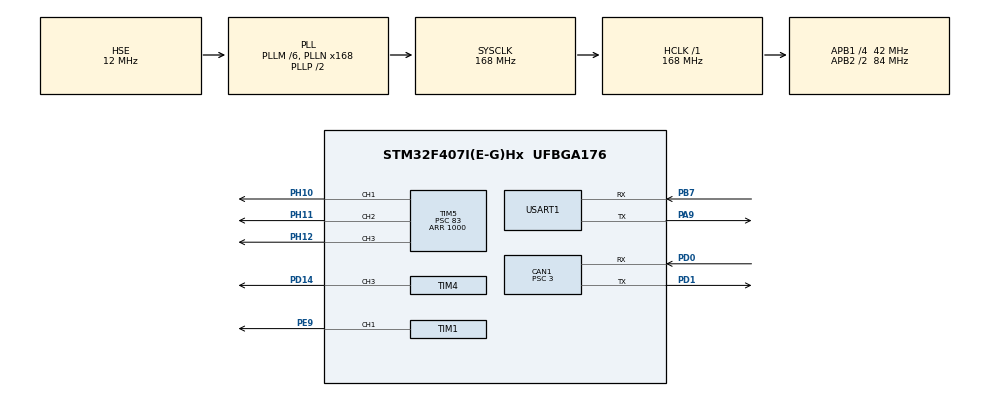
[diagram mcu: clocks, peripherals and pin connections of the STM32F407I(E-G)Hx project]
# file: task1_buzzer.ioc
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CAN1.BS1=CAN_BS1_9TQ
CAN1.BS2=CAN_BS2_4TQ
CAN1.CalculateBaudRate=1000000
CAN1.CalculateTimeBit=1000
CAN1.CalculateTimeQuantum=71.42857142857143
CAN1.Prescaler=3
FREERTOS.Tasks01=ledTask,24,128,StartLedTask,Default,NULL,Dynamic,NULL,NULL;servoTask,8,128,StartServoTask,Default,NULL,Dynamic,NULL,NULL;MotorTask,24,256,StartMotorTask,Default,NULL,Dynamic,NULL,NULL
Mcu.Family=STM32F4
Mcu.Name=STM32F407I(E-G)Hx
Mcu.Package=UFBGA176
NVIC.CAN1_RX0_IRQn=true\:5\:0\:false\:false\:true\:true\:true\:true\:true
NVIC.PriorityGroup=NVIC_PRIORITYGROUP_4
NVIC.TIM8_TRG_COM_TIM14_IRQn=true\:15\:0\:false\:false\:true\:false\:false\:true\:true
NVIC.TimeBase=TIM8_TRG_COM_TIM14_IRQn
NVIC.TimeBaseIP=TIM14
NVIC.USART1_IRQn=true\:5\:0\:false\:false\:true\:true\:true\:true\:true
PA13.Mode=Serial_Wire
PA13.Signal=SYS_JTMS-SWDIO
PA14.Mode=Serial_Wire
PA14.Signal=SYS_JTCK-SWCLK
PA9.Mode=Asynchronous
PA9.Signal=USART1_TX
PB7.Mode=Asynchronous
PB7.Signal=USART1_RX
PD0.Mode=CAN_Activate
PD0.Signal=CAN1_RX
PD1.Mode=CAN_Activate
PD1.Signal=CAN1_TX
PD14.Signal=S_TIM4_CH3
PE9.Signal=S_TIM1_CH1
PH0-OSC_IN.Mode=HSE-External-Oscillator
PH0-OSC_IN.Signal=RCC_OSC_IN
PH1-OSC_OUT.Mode=HSE-External-Oscillator
PH1-OSC_OUT.Signal=RCC_OSC_OUT
PH10.Signal=S_TIM5_CH1
PH11.Signal=S_TIM5_CH2
PH12.Signal=S_TIM5_CH3
ProjectManager.HeapSize=0x200
ProjectManager.StackSize=0x400
ProjectManager.TargetToolchain=CMake
RCC.48MHZClocksFreq_Value=84000000
RCC.AHBFreq_Value=168000000
RCC.APB1CLKDivider=RCC_HCLK_DIV4
RCC.APB1Freq_Value=42000000
RCC.APB1TimFreq_Value=84000000
RCC.APB2CLKDivider=RCC_HCLK_DIV2
RCC.APB2Freq_Value=84000000
RCC.APB2TimFreq_Value=168000000
RCC.CortexFreq_Value=168000000
RCC.HCLKFreq_Value=168000000
RCC.HSE_VALUE=12000000
RCC.HSI_VALUE=16000000
RCC.LSE_VALUE=32768
RCC.PLLM=6
RCC.PLLN=168
RCC.PLLSourceVirtual=RCC_PLLSOURCE_HSE
RCC.SYSCLKFreq_VALUE=168000000
RCC.SYSCLKSource=RCC_SYSCLKSOURCE_PLLCLK
RCC.VCOOutputFreq_Value=336000000
SH.S_TIM1_CH1.0=TIM1_CH1,PWM Generation1 CH1
SH.S_TIM4_CH3.0=TIM4_CH3,PWM Generation3 CH3
SH.S_TIM5_CH1.0=TIM5_CH1,PWM Generation1 CH1
SH.S_TIM5_CH2.0=TIM5_CH2,PWM Generation2 CH2
SH.S_TIM5_CH3.0=TIM5_CH3,PWM Generation3 CH3
TIM1.Channel-PWM\ Generation1\ CH1=TIM_CHANNEL_1
TIM1.Period=19999
TIM1.Prescaler=167
TIM4.Channel-PWM\ Generation3\ CH3=TIM_CHANNEL_3
TIM4.Period=249
TIM4.Prescaler=84-1
TIM4.Pulse-PWM\ Generation3\ CH3=125
TIM5.Channel-PWM\ Generation1\ CH1=TIM_CHANNEL_1
TIM5.Channel-PWM\ Generation2\ CH2=TIM_CHANNEL_2
TIM5.Channel-PWM\ Generation3\ CH3=TIM_CHANNEL_3
TIM5.Period=1000
TIM5.Prescaler=83
USART1.VirtualMode=VM_ASYNC
VP_FREERTOS_VS_CMSIS_V2.Mode=CMSIS_V2
VP_SYS_VS_tim14.Mode=TIM14
board=custom

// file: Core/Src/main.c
/* USER CODE BEGIN Header */
/**
 ******************************************************************************
 * @file           : main.c
 * @brief          : Main program body
 ******************************************************************************
 * @attention
 *
 * Copyright (c) 2026 STMicroelectronics.
 * All rights reserved.
 *
 * This software is licensed under terms that can be found in the LICENSE file
 * in the root directory of this software component.
 * If no LICENSE file comes with this software, it is provided AS-IS.
 *
 ******************************************************************************
 */
/* USER CODE END Header */
#include "main.h"
#include "can.h"
#include "cmsis_os.h"
#include "gpio.h"
#include "tim.h"
#include "usart.h"

/* USER CODE BEGIN Includes */

// C++混合编译保护罩，防止链接器找不到C函数
#ifdef __cplusplus
extern "C"
{
#endif

#include "bsp_led.h"
#include "bsp_servo.h"
#include "justfloat.h"
#include <stdio.h>
  void MX_FREERTOS_Init(void);

#ifdef __cplusplus
}
#endif

/* USER CODE END Includes */

/* USER CODE BEGIN PV */
uint8_t rx_byte;
uint8_t rx_buf[20];
uint8_t rx_cnt = 0;
float kp_val = 50.0f;    // 默认给 50 的起步经验值，防止上电电机毫无反应
Motor_Data_t motor_data; // 电机数据结构体实例，全局变量
float Ki = 0.0f;
float Kd = 0.0f;
/* USER CODE END PV */

void SystemClock_Config(void);
void MX_FREERTOS_Init(void);

/* USER CODE BEGIN 0 */
/*********************************************************
 * [自定义驱动与中断回调区]
 * 用途：存放写的底层外设控制函数和各个通信中断的处理逻辑（回调函数，任务四和任务五）
 *********************************************************/
// 任务一：蜂鸣器音调设置函数
void Buzzer_Set_Tone(uint16_t freq)
{
  if (freq == 0)
  {
    __HAL_TIM_SET_COMPARE(&htim4, TIM_CHANNEL_3, 0); // 占空比设为0，静音
    return;
  }
  uint32_t reload = 1000000 / freq; // 1MHz 时钟下的重装载值计算
  __HAL_TIM_SET_AUTORELOAD(&htim4, reload - 1);
  __HAL_TIM_SET_COMPARE(&htim4, TIM_CHANNEL_3, reload / 2); // 始终保持50%占空比
}

// 任务四回调函数
void HAL_UART_RxCpltCallback(UART_HandleTypeDef *huart)
{

  if (huart->Instance == USART1)
  {

    if (rx_byte == '\r')
    {
      rx_buf[rx_cnt] = '\0';

      if (sscanf((char *)rx_buf, "kp=%f", &kp_val) == 1)
      {
        justfloat_send_single(kp_val);
      }
      else if (sscanf((char *)rx_buf, "ki=%f", &Ki) == 1)
      {
        justfloat_send_single(Ki);
      }
      else if (sscanf((char *)rx_buf, "kd=%f", &Kd) == 1)
      {
        justfloat_send_single(Kd);
      }

      rx_cnt = 0;
    }
    else
    {

      rx_buf[rx_cnt++] = rx_byte;
      if (rx_cnt >= 20)
        rx_cnt = 0;
    }

    HAL_UART_Receive_IT(&huart1, &rx_byte, 1);
  }
}
// 任务五回调函数
void HAL_CAN_RxFifo0MsgPendingCallback(CAN_HandleTypeDef *hcan)
{
  CAN_RxHeaderTypeDef rx_header;
  uint8_t rx_data[8];

  if (hcan->Instance == CAN1)
  {
    // 读取接收到的 CAN 数据
    HAL_CAN_GetRxMessage(hcan, CAN_RX_FIFO0, &rx_header, rx_data);

    // 电机 ID 是 1，由C620 说明书得到其反馈标识符为 0x200 + 1 = 0x201
    if (rx_header.StdId == 0x201)
    {
      // 将 8 个字节的数据拼接还原成真实数值
      motor_data.angle = (rx_data[0] << 8) | rx_data[1];
      motor_data.speed_rpm = (rx_data[2] << 8) | rx_data[3];
      motor_data.current = (rx_data[4] << 8) | rx_data[5];
      motor_data.temp = rx_data[6];
    }
  }
}
/* USER CODE END 0 */

int main(void)
{

  /* MCU Configuration--------------------------------------------------------*/

  /* Reset of all peripherals, Initializes the Flash interface and the Systick. */
  HAL_Init();

  /* Configure the system clock */
  SystemClock_Config();

  /* Initialize all configured peripherals */
  MX_GPIO_Init();
  MX_TIM4_Init();
  MX_USART1_UART_Init();
  MX_TIM5_Init();
  MX_TIM1_Init();
  MX_CAN1_Init();
  /* USER CODE BEGIN 2 */
  /*********************************************************
   * [系统初始化与外设启动区]
   * 外设启动(Start)、开启中断(IT)、开机自检。在 FreeRTOS 接管前执行。
   *********************************************************/
  // 局部变量的定义
  CAN_FilterTypeDef can_filter_st;
  // 初始化都写到这里
  BSP_LED_Init();                            // 启动 TIM5 的 PWM 硬件通道
  BSP_LED_SetColor(1000, 0, 0);              // 占空比 1000，这个是测试代码，之前任务二小灯不亮
  Servo_Init();                              // 启动 TIM1 的 PWM 硬件通道
  HAL_UART_Receive_IT(&huart1, &rx_byte, 1); // 开启UART1接收中断

  // 任务一
  // 上电复位后蜂鸣器响一次
  HAL_TIM_PWM_Start(&htim4, TIM_CHANNEL_3);
  Buzzer_Set_Tone(4000); // 默认 4000Hz 音调
  HAL_Delay(500);        // 鸣响 500ms
  Buzzer_Set_Tone(0);    // 静音
  HAL_Delay(1000);

  // 设计两种不同的报错音调
  // 报错音调 1：“滴-滴-滴”
  for (int i = 0; i < 3; i++)
  {
    Buzzer_Set_Tone(5000);
    HAL_Delay(150);
    Buzzer_Set_Tone(0);
    HAL_Delay(100);
  }
  HAL_Delay(800);

  // 报错音调 2：“嘟——嘟——”
  for (int i = 0; i < 2; i++)
  {
    Buzzer_Set_Tone(1500);
    HAL_Delay(400);
    Buzzer_Set_Tone(0);
    HAL_Delay(200);
  }
  HAL_TIM_PWM_Stop(&htim4, TIM_CHANNEL_3); // 彻底关闭该通道PWM

  // 任务五
  //  1.配置CAN1的过滤器，允许接收所有ID的报文

  can_filter_st.FilterActivation = CAN_FILTER_ENABLE;
  can_filter_st.FilterMode = CAN_FILTERMODE_IDMASK;
  can_filter_st.FilterScale = CAN_FILTERSCALE_32BIT;
  can_filter_st.FilterIdHigh = 0x0000;
  can_filter_st.FilterIdLow = 0x0000;
  can_filter_st.FilterMaskIdHigh = 0x0000;
  can_filter_st.FilterMaskIdLow = 0x0000;
  can_filter_st.FilterBank = 0;

  can_filter_st.FilterFIFOAssignment = CAN_FILTER_FIFO0;
  can_filter_st.SlaveStartFilterBank = 14; //

  HAL_CAN_ConfigFilter(&hcan1, &can_filter_st);

  // 2. 启动 CAN1 硬件模块
  HAL_CAN_Start(&hcan1);

  // 3. 开启 CAN1 的接收中断 (当收到数据时会触发回调函数)
  HAL_CAN_ActivateNotification(&hcan1, CAN_IT_RX_FIFO0_MSG_PENDING);

  /* USER CODE END 2 */

  /* Init scheduler */
  osKernelInitialize(); /* Call init function for freertos objects (in cmsis_os2.c) */
  MX_FREERTOS_Init();

  /* Start scheduler */
  osKernelStart();

  /* We should never get here as control is now taken by the scheduler */

  /* Infinite loop */
  while (1)
  {

  }
}

void SystemClock_Config(void)
{
  RCC_OscInitTypeDef RCC_OscInitStruct = {0};
  RCC_ClkInitTypeDef RCC_ClkInitStruct = {0};

  /** Configure the main internal regulator output voltage
   */
  __HAL_RCC_PWR_CLK_ENABLE();
  __HAL_PWR_VOLTAGESCALING_CONFIG(PWR_REGULATOR_VOLTAGE_SCALE1);

  /** Initializes the RCC Oscillators according to the specified parameters
   * in the RCC_OscInitTypeDef structure.
   */
  RCC_OscInitStruct.OscillatorType = RCC_OSCILLATORTYPE_HSE;
  RCC_OscInitStruct.HSEState = RCC_HSE_ON;
  RCC_OscInitStruct.PLL.PLLState = RCC_PLL_ON;
  RCC_OscInitStruct.PLL.PLLSource = RCC_PLLSOURCE_HSE;
  RCC_OscInitStruct.PLL.PLLM = 6;
  RCC_OscInitStruct.PLL.PLLN = 168;
  RCC_OscInitStruct.PLL.PLLP = RCC_PLLP_DIV2;
  RCC_OscInitStruct.PLL.PLLQ = 4;
  if (HAL_RCC_OscConfig(&RCC_OscInitStruct) != HAL_OK)
  {
    Error_Handler();
  }

  /** Initializes the CPU, AHB and APB buses clocks
   */
  RCC_ClkInitStruct.ClockType = RCC_CLOCKTYPE_HCLK | RCC_CLOCKTYPE_SYSCLK | RCC_CLOCKTYPE_PCLK1 | RCC_CLOCKTYPE_PCLK2;
  RCC_ClkInitStruct.SYSCLKSource = RCC_SYSCLKSOURCE_PLLCLK;
  RCC_ClkInitStruct.AHBCLKDivider = RCC_SYSCLK_DIV1;
  RCC_ClkInitStruct.APB1CLKDivider = RCC_HCLK_DIV4;
  RCC_ClkInitStruct.APB2CLKDivider = RCC_HCLK_DIV2;

  if (HAL_RCC_ClockConfig(&RCC_ClkInitStruct, FLASH_LATENCY_5) != HAL_OK)
  {
    Error_Handler();
  }
}

void HAL_TIM_PeriodElapsedCallback(TIM_HandleTypeDef *htim)
{
  if (htim->Instance == TIM14)
  {
    HAL_IncTick();
  }
}

void Error_Handler(void)
{
  __disable_irq();
  while (1)
  {
  }
}
#ifdef USE_FULL_ASSERT
/**
 * @brief  Reports the name of the source file and the source line number
 *         where the assert_param error has occurred.
 * @param  file: pointer to the source file name
 * @param  line: assert_param error line source number
 * @retval None
 */
void assert_failed(uint8_t *file, uint32_t line)
{
  /* USER CODE BEGIN 6 */
  /* User can add his own implementation to report the file name and line
     number, ex: printf("Wrong parameters value: file %s on line %d\r\n", file,
     line) */
  /* USER CODE END 6 */
}
#endif /* USE_FULL_ASSERT */

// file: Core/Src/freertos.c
/* USER CODE BEGIN Header */
/**
 ******************************************************************************
 * File Name          : freertos.c
 * Description        : Code for freertos applications
 ******************************************************************************
 * @attention
 *
 * Copyright (c) 2026 STMicroelectronics.
 * All rights reserved.
 *
 * This software is licensed under terms that can be found in the LICENSE file
 * in the root directory of this software component.
 * If no LICENSE file comes with this software, it is provided AS-IS.
 *
 ******************************************************************************
 */
/* USER CODE END Header */

#include "FreeRTOS.h"
#include "cmsis_os.h"
#include "main.h"
#include "task.h"

/* USER CODE BEGIN Includes */
#ifdef __cplusplus
extern "C"
{
#endif

#include "bsp_led.h"
#include "bsp_servo.h"
#include "can.h"
#include "justfloat.h"

#ifdef __cplusplus
}
#endif
/* USER CODE END Includes */

/* USER CODE BEGIN Variables */
// 全局变量声明
extern Motor_Data_t motor_data;
extern float kp_val; // 比例系数(P)，初始默认50.0，在main.c串口中断(任务四)中动态修改
extern float Ki;
extern float Kd;
/* USER CODE END Variables */
/* Definitions for ledTask */
osThreadId_t ledTaskHandle;
const osThreadAttr_t ledTask_attributes = {
    .name = "ledTask",
    .stack_size = 128 * 4,
    .priority = (osPriority_t)osPriorityNormal,
};
/* Definitions for servoTask */
osThreadId_t servoTaskHandle;
const osThreadAttr_t servoTask_attributes = {
    .name = "servoTask",
    .stack_size = 128 * 4,
    .priority = (osPriority_t)osPriorityLow,
};
/* Definitions for MotorTask */
osThreadId_t MotorTaskHandle;
const osThreadAttr_t MotorTask_attributes = {
    .name = "MotorTask",
    .stack_size = 256 * 4,
    .priority = (osPriority_t)osPriorityNormal,
};

void StartLedTask(void *argument);
void StartServoTask(void *argument);
void StartMotorTask(void *argument);

void MX_FREERTOS_Init(void); /* (MISRA C 2004 rule 8.1) */

void MX_FREERTOS_Init(void)
{

  /* Create the thread(s) */
  /* creation of ledTask */
  ledTaskHandle = osThreadNew(StartLedTask, NULL, &ledTask_attributes);

  /* creation of servoTask */
  servoTaskHandle = osThreadNew(StartServoTask, NULL, &servoTask_attributes);

  /* creation of MotorTask */
  MotorTaskHandle = osThreadNew(StartMotorTask, NULL, &MotorTask_attributes);

}

void StartLedTask(void *argument)
{
  /* USER CODE BEGIN StartLedTask */

  uint16_t pwm_val = 0; // 用于存储PWM占空比的变量，范围从0到1000，表示LED的亮度级别。

  /* Infinite loop */
  for (;;)
  {
    //  红灯渐变
    for (pwm_val = 0; pwm_val <= 1000; pwm_val += 20)
    {
      BSP_LED_SetColor(pwm_val, 0, 0);
      osDelay(10);
    }
    for (pwm_val = 1000; pwm_val > 0; pwm_val -= 20)
    {
      BSP_LED_SetColor(pwm_val, 0, 0);
      osDelay(10);
    }

    for (pwm_val = 0; pwm_val <= 1000; pwm_val += 20)
    {
      BSP_LED_SetColor(0, pwm_val, 0);
      osDelay(10);
    }
    for (pwm_val = 1000; pwm_val > 0; pwm_val -= 20)
    {
      BSP_LED_SetColor(0, pwm_val, 0);
      osDelay(10);
    }

    // 蓝灯渐变
    for (pwm_val = 0; pwm_val <= 1000; pwm_val += 20)
    {
      BSP_LED_SetColor(0, 0, pwm_val);
      osDelay(10);
    }
    for (pwm_val = 1000; pwm_val > 0; pwm_val -= 20)
    {
      BSP_LED_SetColor(0, 0, pwm_val);
      osDelay(10);
    }
    osDelay(1); // 绝对延时 1ms
  }
  /* USER CODE END StartLedTask */
}

void StartServoTask(void *argument)
{
  /* USER CODE BEGIN StartServoTask */

  /* Infinite loop */
  for (;;)
  {
    // 从 0 循环到 180，每次增加 45 度
    for (uint16_t current_angle = 0; current_angle <= 180; current_angle += 45)
    {
      Servo_SetAngle(current_angle);
      osDelay(1000); // 绝对延时 1 秒 (1000ms)
    }
    osDelay(1); // 绝对延时 1ms
  }
  /* USER CODE END StartServoTask */
}

void StartMotorTask(void *argument)
{
  /* USER CODE BEGIN StartMotorTask */
  float error = 0.0f;
  float last_error = 0.0f;
  float integral = 0.0f;
  float output_current = 0.0f;

  static uint32_t traj_tick = 0;
  float target_angle = 0.0f;

  int16_t diff = 0;
  static int16_t last_angle = 0;
  static int32_t total_angle = 0;
  float out_angle_deg = 0.0f;

  /* Infinite loop */
  for (;;)
  {
    // 轨迹规划 (周期: 2000ms)
    uint32_t cycle_tick = traj_tick % 200;

    if (cycle_tick < 50)
    {
      target_angle = 90.0f * ((float)cycle_tick / 50.0f);
    }
    else if (cycle_tick < 150)
    {
      uint32_t t = cycle_tick - 50;
      target_angle = 90.0f - 180.0f * ((float)t / 100.0f);
    }
    else
    {
      uint32_t t = cycle_tick - 150;
      target_angle = -90.0f + 90.0f * ((float)t / 50.0f);
    }
    traj_tick++;

    // 编码器数据处理与越界校验
    diff = motor_data.angle - last_angle;
    if (diff < -4096)
    {
      diff += 8192;
    }
    else if (diff > 4096)
    {
      diff -= 8192;
    }

    total_angle += diff;
    last_angle = motor_data.angle;
    out_angle_deg = (float)total_angle * 360.0f / (8192.0f * 19.2f);

    // PID 闭环计算
    error = target_angle - out_angle_deg;
    integral += error;

    // 积分项限幅
    if (integral > 10000.0f)
    {
      integral = 10000.0f;
    }
    else if (integral < -10000.0f)
    {
      integral = -10000.0f;
    }

    output_current = (kp_val * error) + (Ki * integral) + (Kd * (error - last_error));
    last_error = error;

    // 总输出电流限幅
    if (output_current > 8000.0f)
    {
      output_current = 8000.0f;
    }
    else if (output_current < -8000.0f)
    {
      output_current = -8000.0f;
    }

    // 发送电机控制指令与波形数据
    CAN_cmd_motor((int16_t)output_current, 0, 0, 0);
    justfloat_send_3(output_current, out_angle_deg, motor_data.speed_rpm);

    osDelay(10);
  }
  /* USER CODE END StartMotorTask */
}
